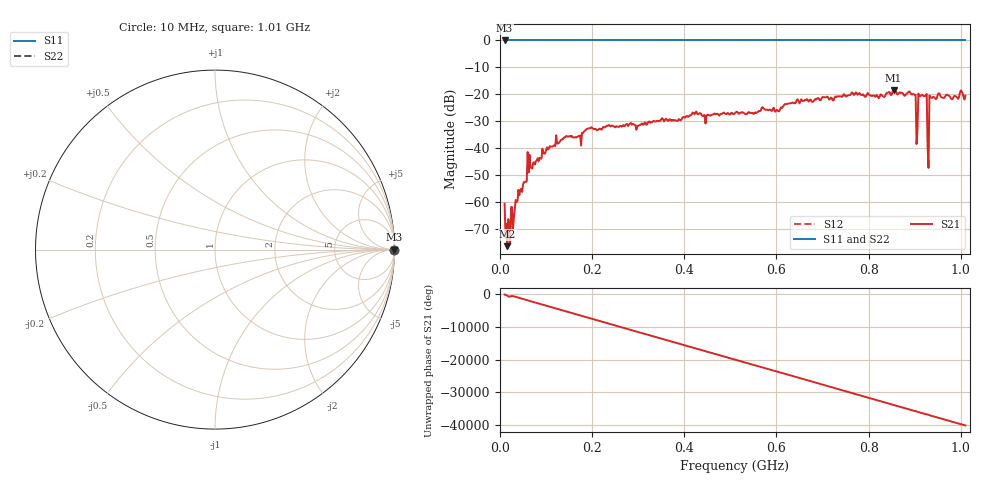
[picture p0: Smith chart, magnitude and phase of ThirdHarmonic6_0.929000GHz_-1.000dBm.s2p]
! 8/16/2025 6:18:09 AM
! C:\ANRITSUVNA\TEMP\TEMP.S2P
! CHANNEL.1
! TR.MEASUREMENT
! RAW.DATA
! RF.CORRECTION.OFF
! AVERAGING.OFF
! IF.BANDWIDTH: 5KHZ
! SWEEPTYPE:  FREQ.SWEEP(Linear)
! Reference Plane Port Info
! PORT:  PORT1  PORT2
! DISTANCE:  0  m  0  m
! TIME:  0  s  0  s
! PHASE.OFFSET:  0  deg.  0  deg.
! LOSS:  0  dB  0  dB
! REF.LOSS:  0  dB  0  dB
! REF.FREQ:  0  Hz  0  Hz
! Power Info
! POWER:  -20  dBm  -20  dBm
! EFF.POWER:  -20  dBm  -20  dBm
! SOURCE.ATTEN:  0  dB  0  dB
! TEST.ATTEN:  0  dB  0  dB
# GHZ S RI R 50.0
! FREQ.GHZ  S11RE  S11IM  S21RE  S21IM  S12RE  S12IM  S22RE  S22IM
!; PortSelection: Port_12
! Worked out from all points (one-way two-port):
!   501 points, 10 MHz to 1.01 GHz, reference 50 ohm
!   highest |S21| = -18.42 dB at 854 MHz (marker M1); lowest = -76.2 dB at 16 MHz (marker M2)
!   lowest |S11| = 0.0 dB at 10 MHz (marker M3)
!   |S11| at or under -10 dB: nowhere
!   |S22| runs from 0.0 to 0.0 dB; largest |S21 - S12| = 1.1
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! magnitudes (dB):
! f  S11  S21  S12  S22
! 10 MHz  0.0  -60.4  0.0  0.0
! 16 MHz  0.0  -76.2  0.0  0.0
! 38 MHz  0.0  -59.3  0.0  0.0
! 54 MHz  0.0  -52.4  0.0  0.0
! 64 MHz  0.0  -42.3  0.0  0.0
! 142 MHz  0.0  -35.8  0.0  0.0
! 178 MHz  0.0  -34.2  0.0  0.0
! 194 MHz  0.0  -32.5  0.0  0.0
! 344 MHz  0.0  -30.0  0.0  0.0
! 510 MHz  0.0  -26.9  0.0  0.0
! 678 MHz  0.0  -22.8  0.0  0.0
! 844 MHz  0.0  -19.1  0.0  0.0
! 854 MHz  0.0  -18.4  0.0  0.0
! 898 MHz  0.0  -19.9  0.0  0.0
! 902 MHz  0.0  -20.1  0.0  0.0
! 908 MHz  0.0  -19.7  0.0  0.0
! 912 MHz  0.0  -20.7  0.0  0.0
! 922 MHz  0.0  -20.5  0.0  0.0
! 926 MHz  0.0  -19.8  0.0  0.0
! 932 MHz  0.0  -20.4  0.0  0.0
! 936 MHz  0.0  -21.2  0.0  0.0
! 1.01 GHz  0.0  -20.4  0.0  0.0
